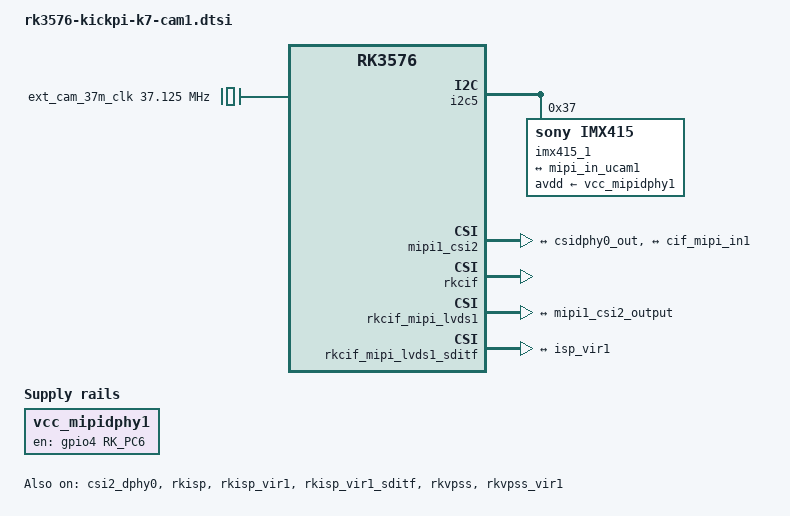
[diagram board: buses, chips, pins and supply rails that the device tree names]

/ {
	ext_cam_37m_clk: external-camera-37m-clock {
		compatible = "fixed-clock";
		clock-frequency = <37125000>;
		clock-output-names = "ext_cam_37m_clk";
		#clock-cells = <0>;
	};

    vcc_mipidphy1: vcc-mipidcphy1-regulator {
		compatible = "regulator-fixed";
		gpio = <&gpio4 RK_PC6 GPIO_ACTIVE_HIGH>;
		pinctrl-names = "default";
		pinctrl-0 = <&mipidphy1_pwr>;
		regulator-name = "vcc_mipidphy1";
		enable-active-high;
        regulator-always-on;
		regulator-boot-on;
	};
};

&pinctrl {
	cam {
        mipidphy1_pwr: mipidphy1-pwr {
			rockchip,pins =
				/* camera power en */
				<4 RK_PC6 RK_FUNC_GPIO &pcfg_pull_none>;
		};
	};
};

&i2c5 {
	status = "okay";
	pinctrl-0 = <&i2c5m3_xfer>;

	imx415_1: imx415_1@37 {
		compatible = "sony,imx415";
		status = "okay";
		reg = <0x37>;
		clocks = <&ext_cam_37m_clk>;
		clock-names = "xvclk";
		power-domains = <&power RK3576_PD_VI>;
		avdd-supply = <&vcc_mipidphy1>;
		rockchip,camera-module-index = <1>;
		rockchip,camera-module-facing = "front";
		rockchip,camera-module-name = "CMK-OT2022-PX1";
		rockchip,camera-module-lens-name = "IR0147-50IRC-8M-F20";

		port {
			imx415_out1: endpoint {
				remote-endpoint = <&mipi_in_ucam1>;
				data-lanes = <1 2 3 4>;
			};
		};
	};
};

&csi2_dphy0 {
	status = "okay";

	ports {
		#address-cells = <1>;
		#size-cells = <0>;
		port@0 {
			reg = <0>;
			#address-cells = <1>;
			#size-cells = <0>;

			mipi_in_ucam1: endpoint@1 {
				reg = <1>;
				remote-endpoint = <&imx415_out1>;
				data-lanes = <1 2 3 4>;
			};
		};
		port@1 {
			reg = <1>;
			#address-cells = <1>;
			#size-cells = <0>;

			csidphy0_out: endpoint@0 {
				reg = <0>;
				remote-endpoint = <&mipi1_csi2_input>;
			};
		};
	};
};

&mipi1_csi2 {
	status = "okay";

	ports {
		#address-cells = <1>;
		#size-cells = <0>;

		port@0 {
			reg = <0>;
			#address-cells = <1>;
			#size-cells = <0>;

			mipi1_csi2_input: endpoint@1 {
				reg = <1>;
				remote-endpoint = <&csidphy0_out>;
			};
		};

		port@1 {
			reg = <1>;
			#address-cells = <1>;
			#size-cells = <0>;

			mipi1_csi2_output: endpoint@0 {
				reg = <0>;
				remote-endpoint = <&cif_mipi_in1>;
			};
		};
	};
};

&rkcif {
	status = "okay";
};

&rkcif_mipi_lvds1 {
	status = "okay";

	port {
		cif_mipi_in1: endpoint {
			remote-endpoint = <&mipi1_csi2_output>;
		};
	};
};

&rkcif_mipi_lvds1_sditf {
	status = "okay";

	port {
		mipi1_lvds_sditf: endpoint {
			remote-endpoint = <&isp_vir1>;
		};
	};
};

&rkcif_mmu {
	status = "okay";
};

&rkisp {
	status = "okay";
};

&rkisp_mmu {
	status = "okay";
};

&rkisp_vir1 {
	status = "okay";

	port {
		#address-cells = <1>;
		#size-cells = <0>;

		isp_vir1: endpoint@0 {
			reg = <0>;
			remote-endpoint = <&mipi1_lvds_sditf>;
		};
	};
};

&rkisp_vir1_sditf {
	status = "okay";
};

&rkvpss {
	status = "okay";
};

&rkvpss_mmu {
	status = "okay";
};

&rkvpss_vir1 {
	status = "okay";
};
